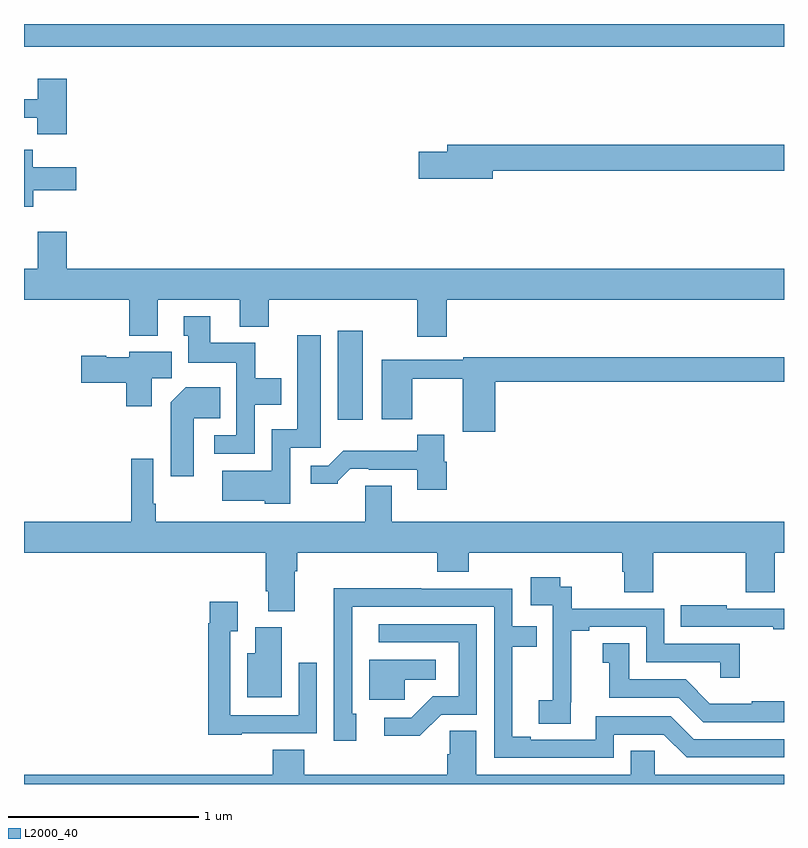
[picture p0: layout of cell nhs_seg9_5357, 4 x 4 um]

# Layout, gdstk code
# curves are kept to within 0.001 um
import gdstk
lib = gdstk.Library(unit=1e-6, precision=1e-09)
def R(c, l, rs):  # rectangles x0, y0, x1, y1
    for r in rs: c.add(gdstk.rectangle(r[:2], r[2:], *l))
def P(c, l, *ps):  # polygons
    for p in ps: c.add(gdstk.Polygon(p, *l))
L2000_40 = (2000, 40)

nhs_seg9_5357 = lib.new_cell('nhs_seg9_5357')
R(nhs_seg9_5357, L2000_40, [(422.651,1234.416,422.782,1234.885), (421,1236.38,425,1236.5)])
P(nhs_seg9_5357, L2000_40, [(421.226,1236.211),(421.073,1236.211),(421.073,1236.105),(421,1236.105),(421,1236.006),(421.071,1236.006),(421.071,1235.921),(421.226,1235.921)],
  [(423.466,1235.728),(425,1235.728),(425,1235.864),(423.227,1235.864),(423.227,1235.828),(423.078,1235.828),(423.078,1235.686),(423.466,1235.686)],
  [(421.048,1235.624),(421.276,1235.624),(421.276,1235.746),(421.046,1235.746),(421.046,1235.839),(421,1235.839),(421,1235.538),(421.048,1235.538)],
  [(423.224,1235.048),(425,1235.048),(425,1235.212),(421.226,1235.212),(421.226,1235.407),(421.073,1235.407),(421.073,1235.212),(421,1235.212),(421,1235.048),(421.553,1235.048),(421.553,1234.859),(421.705,1234.859),(421.705,1235.048),(422.135,1235.048),(422.135,1234.907),(422.288,1234.907),(422.288,1235.048),(423.071,1235.048),(423.071,1234.854),(423.224,1234.854)],
  [(422.214,1234.496),(422.353,1234.496),(422.353,1234.636),(422.217,1234.636),(422.217,1234.822),(421.981,1234.822),(421.981,1234.963),(421.841,1234.963),(421.841,1234.86),(421.865,1234.86),(421.865,1234.718),(422.118,1234.718),(422.118,1234.335),(422.001,1234.335),(422.001,1234.239),(422.214,1234.239)],
  [(422.4,1234.269),(422.563,1234.269),(422.563,1234.861),(422.438,1234.861),(422.438,1234.366),(422.304,1234.366),(422.304,1234.15),(422.043,1234.15),(422.043,1233.992),(422.268,1233.992),(422.268,1233.974),(422.4,1233.974)],
  [(421.672,1234.636),(421.777,1234.636),(421.777,1234.774),(421.554,1234.774),(421.554,1234.747),(421.434,1234.747),(421.434,1234.755),(421.302,1234.755),(421.302,1234.613),(421.538,1234.613),(421.538,1234.488),(421.672,1234.488)],
  [(423.479,1234.618),(425,1234.618),(425,1234.747),(423.312,1234.747),(423.312,1234.734),(422.882,1234.734),(422.882,1234.421),(423.044,1234.421),(423.044,1234.633),(423.308,1234.633),(423.308,1234.353),(423.479,1234.353)],
  [(421.894,1234.424),(422.033,1234.424),(422.033,1234.588),(421.85,1234.588),(421.772,1234.51),(421.772,1234.119),(421.894,1234.119)],
  [(423.224,1234.197),(423.211,1234.197),(423.211,1234.339),(423.069,1234.339),(423.069,1234.255),(422.68,1234.255),(422.601,1234.176),(422.508,1234.176),(422.508,1234.079),(422.652,1234.079),(422.652,1234.094),(422.716,1234.158),(422.815,1234.158),(422.815,1234.155),(423.071,1234.155),(423.071,1234.05),(423.224,1234.05)],
  [(422.273,1233.514),(422.285,1233.514),(422.285,1233.409),(422.425,1233.409),(422.425,1233.62),(422.438,1233.62),(422.438,1233.716),(423.176,1233.716),(423.176,1233.617),(423.341,1233.617),(423.341,1233.716),(424.148,1233.716),(424.148,1233.618),(424.16,1233.618),(424.16,1233.508),(424.313,1233.508),(424.313,1233.716),(424.799,1233.716),(424.799,1233.508),(424.951,1233.508),(424.951,1233.716),(425,1233.716),(425,1233.88),(422.935,1233.88),(422.935,1234.07),(422.795,1234.07),(422.795,1233.88),(421.693,1233.88),(421.693,1233.976),(421.68,1233.976),(421.68,1234.213),(421.564,1234.213),(421.564,1233.88),(421,1233.88),(421,1233.716),(422.273,1233.716)],
  [(423.878,1232.929),(423.88,1232.929),(423.88,1233.307),(423.976,1233.307),(423.976,1233.327),(424.275,1233.327),(424.275,1233.141),(424.665,1233.141),(424.665,1233.06),(424.766,1233.06),(424.766,1233.237),(424.371,1233.237),(424.371,1233.423),(423.884,1233.423),(423.884,1233.537),(423.822,1233.537),(423.822,1233.589),(423.666,1233.589),(423.666,1233.441),(423.783,1233.441),(423.783,1233.137),(423.782,1233.137),(423.782,1232.94),(423.708,1232.94),(423.708,1232.818),(423.878,1232.818)],
  [(424.104,1232.76),(424.368,1232.76),(424.488,1232.64),(425,1232.64),(425,1232.736),(424.524,1232.736),(424.404,1232.856),(424.008,1232.856),(424.008,1232.733),(423.667,1232.733),(423.667,1232.748),(423.571,1232.748),(423.571,1233.222),(423.698,1233.222),(423.698,1233.33),(423.57,1233.33),(423.57,1233.528),(423.092,1233.528),(423.092,1233.53),(422.63,1233.53),(422.631,1232.727),(422.749,1232.727),(422.749,1232.871),(422.727,1232.871),(422.727,1233.432),(423.474,1233.432),(423.474,1232.637),(424.104,1232.637)],
  [(422.145,1232.766),(422.541,1232.766),(422.541,1233.139),(422.445,1233.139),(422.445,1232.862),(422.085,1232.862),(422.085,1233.304),(422.125,1233.304),(422.125,1233.46),(421.977,1233.46),(421.977,1233.347),(421.969,1233.347),(421.969,1232.759),(422.145,1232.759)],
  [(425,1233.423),(424.699,1233.423),(424.699,1233.442),(424.456,1233.442),(424.456,1233.327),(424.943,1233.327),(424.943,1233.315),(425,1233.315)],
  [(423.195,1232.865),(423.384,1232.865),(423.384,1233.342),(422.868,1233.342),(422.868,1233.246),(423.288,1233.246),(423.288,1232.961),(423.15,1232.961),(423.039,1232.85),(422.895,1232.85),(422.895,1232.753),(423.082,1232.753)],
  [(422.356,1233.324),(422.216,1233.324),(422.216,1233.189),(422.174,1233.189),(422.174,1232.957),(422.356,1232.957)],
  [(425,1232.935),(424.829,1232.935),(424.829,1232.923),(424.61,1232.923),(424.482,1233.051),(424.186,1233.051),(424.186,1233.242),(424.046,1233.242),(424.046,1233.139),(424.079,1233.139),(424.079,1232.955),(424.446,1232.955),(424.575,1232.826),(425,1232.826)],
  [(423.003,1233.05),(423.166,1233.05),(423.166,1233.154),(422.816,1233.154),(422.816,1232.943),(423.003,1232.943)],
  [(425,1232.548),(424.32,1232.548),(424.32,1232.675),(424.193,1232.675),(424.193,1232.548),(423.379,1232.548),(423.379,1232.78),(423.24,1232.78),(423.24,1232.657),(423.227,1232.657),(423.227,1232.548),(422.474,1232.548),(422.474,1232.681),(422.309,1232.681),(422.309,1232.548),(421,1232.548),(421,1232.5),(425,1232.5)])

lib.write_gds('nhs_seg9_5357.gds')
